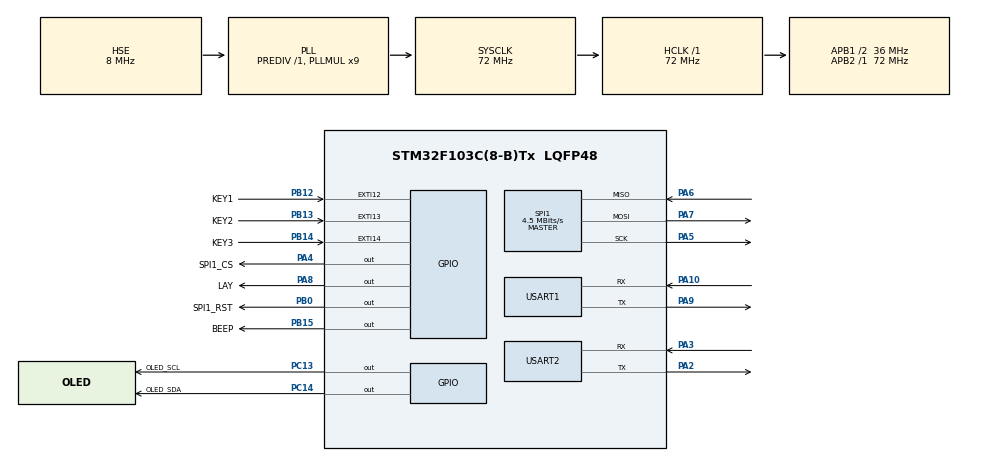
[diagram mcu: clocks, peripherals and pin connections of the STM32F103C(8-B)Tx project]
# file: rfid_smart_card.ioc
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Mcu.Family=STM32F1
Mcu.Name=STM32F103C(8-B)Tx
Mcu.Package=LQFP48
NVIC.EXTI15_10_IRQn=true\:0\:0\:false\:false\:true\:true\:true\:true
NVIC.PriorityGroup=NVIC_PRIORITYGROUP_4
NVIC.SPI1_IRQn=true\:1\:0\:true\:false\:true\:true\:true\:true
NVIC.USART2_IRQn=true\:2\:0\:true\:false\:true\:true\:true\:true
PA10.Mode=Asynchronous
PA10.Signal=USART1_RX
PA13.Mode=Serial_Wire
PA13.Signal=SYS_JTMS-SWDIO
PA14.Mode=Serial_Wire
PA14.Signal=SYS_JTCK-SWCLK
PA2.Mode=Asynchronous
PA2.Signal=USART2_TX
PA3.Mode=Asynchronous
PA3.Signal=USART2_RX
PA4.GPIO_Label=SPI1_CS
PA4.GPIO_ModeDefaultOutputPP=GPIO_MODE_OUTPUT_PP
PA4.GPIO_PuPd=GPIO_PULLUP
PA4.GPIO_Speed=GPIO_SPEED_FREQ_HIGH
PA4.PinState=GPIO_PIN_SET
PA4.Signal=GPIO_Output
PA5.Mode=Full_Duplex_Master
PA5.Signal=SPI1_SCK
PA6.Mode=Full_Duplex_Master
PA6.Signal=SPI1_MISO
PA7.Mode=Full_Duplex_Master
PA7.Signal=SPI1_MOSI
PA8.GPIO_Label=LAY
PA8.GPIO_PuPd=GPIO_PULLDOWN
PA8.GPIO_Speed=GPIO_SPEED_FREQ_HIGH
PA8.PinState=GPIO_PIN_SET
PA8.Signal=GPIO_Output
PA9.Mode=Asynchronous
PA9.Signal=USART1_TX
PB0.GPIO_Label=SPI1_RST
PB0.GPIO_ModeDefaultOutputPP=GPIO_MODE_OUTPUT_PP
PB0.GPIO_PuPd=GPIO_PULLUP
PB0.GPIO_Speed=GPIO_SPEED_FREQ_HIGH
PB0.PinState=GPIO_PIN_SET
PB0.Signal=GPIO_Output
PB12.GPIO_Label=KEY1
PB12.GPIO_ModeDefaultEXTI=GPIO_MODE_IT_FALLING
PB12.GPIO_PuPd=GPIO_PULLUP
PB12.Signal=GPXTI12
PB13.GPIO_Label=KEY2
PB13.GPIO_ModeDefaultEXTI=GPIO_MODE_IT_FALLING
PB13.GPIO_PuPd=GPIO_PULLUP
PB13.Signal=GPXTI13
PB14.GPIO_Label=KEY3
PB14.GPIO_ModeDefaultEXTI=GPIO_MODE_IT_FALLING
PB14.GPIO_PuPd=GPIO_PULLUP
PB14.Signal=GPXTI14
PB15.GPIO_Label=BEEP
PB15.GPIO_ModeDefaultOutputPP=GPIO_MODE_OUTPUT_PP
PB15.GPIO_PuPd=GPIO_PULLUP
PB15.GPIO_Speed=GPIO_SPEED_FREQ_HIGH
PB15.PinState=GPIO_PIN_SET
PB15.Signal=GPIO_Output
PC13-TAMPER-RTC.GPIO_Label=OLED_SCL
PC13-TAMPER-RTC.GPIO_PuPd=GPIO_PULLUP
PC13-TAMPER-RTC.GPIO_Speed=GPIO_SPEED_FREQ_HIGH
PC13-TAMPER-RTC.PinState=GPIO_PIN_SET
PC13-TAMPER-RTC.Signal=GPIO_Output
PC14-OSC32_IN.GPIO_Label=OLED_SDA
PC14-OSC32_IN.GPIO_PuPd=GPIO_PULLUP
PC14-OSC32_IN.GPIO_Speed=GPIO_SPEED_FREQ_HIGH
PC14-OSC32_IN.PinState=GPIO_PIN_SET
PC14-OSC32_IN.Signal=GPIO_Output
PD0-OSC_IN.Mode=HSE-External-Oscillator
PD0-OSC_IN.Signal=RCC_OSC_IN
PD1-OSC_OUT.Mode=HSE-External-Oscillator
PD1-OSC_OUT.Signal=RCC_OSC_OUT
ProjectManager.HeapSize=0x200
ProjectManager.StackSize=0x400
ProjectManager.TargetToolchain=MDK-ARM V5.32
RCC.AHBFreq_Value=72000000
RCC.APB1CLKDivider=RCC_HCLK_DIV2
RCC.APB1Freq_Value=36000000
RCC.APB1TimFreq_Value=72000000
RCC.APB2Freq_Value=72000000
RCC.APB2TimFreq_Value=72000000
RCC.HCLKFreq_Value=72000000
RCC.PLLMUL=RCC_PLL_MUL9
RCC.PLLSourceVirtual=RCC_PLLSOURCE_HSE
RCC.SYSCLKFreq_VALUE=72000000
RCC.SYSCLKSource=RCC_SYSCLKSOURCE_PLLCLK
RCC.USBFreq_Value=72000000
SPI1.BaudRatePrescaler=SPI_BAUDRATEPRESCALER_16
SPI1.CalculateBaudRate=4.5 MBits/s
SPI1.Direction=SPI_DIRECTION_2LINES
SPI1.Mode=SPI_MODE_MASTER
SPI1.VirtualType=VM_MASTER
USART1.VirtualMode=VM_ASYNC
USART2.VirtualMode=VM_ASYNC
board=custom

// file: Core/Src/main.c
/* USER CODE BEGIN Header */
/**
  ******************************************************************************
  * @file           : main.c
  * @brief          : Main program body
  ******************************************************************************
  * @attention
  *
  * Copyright (c) 2026 STMicroelectronics.
  * All rights reserved.
  *
  * This software is licensed under terms that can be found in the LICENSE file
  * in the root directory of this software component.
  * If no LICENSE file comes with this software, it is provided AS-IS.
  *
  ******************************************************************************
  */
/* USER CODE END Header */
#include "main.h"
#include "spi.h"
#include "usart.h"
#include "gpio.h"

/* USER CODE BEGIN Includes */
#include "RC522.h"
#include "oled.h"
#include "string.h"
#include "stdlib.h"
/* USER CODE END Includes */

/* USER CODE BEGIN PD */

/* 系统状态定义 */
#define STATE_WELCOME    0
#define STATE_HOME       1
#define STATE_SETTING    2
#define STATE_PIN_SET    3
#define STATE_ADD_CARD   4
#define STATE_DELETE_CARD 5

/* 卡片相关定义 */
#define MAX_CARDS        10
#define CARD_ID_LENGTH   4

/* PIN码相关定义 */
#define PIN_LENGTH       4
#define FLASH_PIN_ADDR   0x0800F000  // FLASH存储PIN码的地址
#define FLASH_CARDS_ADDR 0x0800F100  // FLASH存储卡片的地址

/* 错误计数定义 */
#define MAX_ERROR_COUNT  3

/* USER CODE END PD */

/* USER CODE BEGIN PV */

/* 系统状态变量 */
uint8_t system_state = STATE_WELCOME;

/* 卡片相关变量 */
uint8_t card_id[CARD_ID_LENGTH];
uint8_t saved_cards[MAX_CARDS][CARD_ID_LENGTH];
uint8_t card_count = 0;

/* PIN码相关变量 */
uint8_t pin_code[PIN_LENGTH] = {0, 0, 0, 0};
uint8_t pin_input[PIN_LENGTH] = {0, 0, 0, 0};
uint8_t pin_pos = 0;

/* 设置界面相关变量 */
uint8_t setting_option = 0;

/* 错误计数 */
uint8_t error_count = 0;

/* UART接收相关变量 */
uint8_t uart_rx_buffer[4];
uint8_t uart_rx_count = 0;

/* USER CODE END PV */

void SystemClock_Config(void);
/* USER CODE BEGIN PFP */

/* 状态处理函数 */
void welcome_state(void);
void home_state(void);
void setting_state(void);
void pin_set_state(void);
void add_card_state(void);
void delete_card_state(void);

/* FLASH操作函数 */
void flash_write(uint32_t addr, uint8_t *data, uint16_t size);
void flash_read(uint32_t addr, uint8_t *data, uint16_t size);

/* 卡片操作函数 */
uint8_t check_card_id(uint8_t *id);
void save_card_id(uint8_t *id);
void delete_card_id(uint8_t *id);

/* 继电器和蜂鸣器控制函数 */
void relay_on(void);
void relay_off(void);
void beep_on(void);
void beep_off(void);

/* 按键处理函数 */
void key1_handler(void);
void key2_handler(void);
void key3_handler(void);

/* UART处理函数 */
void uart2_data_handler(void);

/* USER CODE END PFP */

/* USER CODE BEGIN 0 */

/* FLASH操作函数 */
void flash_write(uint32_t addr, uint8_t *data, uint16_t size)
{
    HAL_FLASH_Unlock();
    FLASH_EraseInitTypeDef eraseInit;
    uint32_t pageError = 0;
    eraseInit.TypeErase = FLASH_TYPEERASE_PAGES;
    eraseInit.PageAddress = addr;
    eraseInit.NbPages = 1;
    HAL_FLASHEx_Erase(&eraseInit, &pageError);

    for (uint16_t i = 0; i < size; i += 2)
    {
        uint16_t halfword_data;
        if (i + 1 < size)
        {
            halfword_data = (data[i + 1] << 8) | data[i];
        }
        else
        {
            halfword_data = data[i];
        }
        HAL_FLASH_Program(FLASH_TYPEPROGRAM_HALFWORD, addr + i, halfword_data);
    }

    HAL_FLASH_Lock();
}

void flash_read(uint32_t addr, uint8_t *data, uint16_t size)
{
    for (uint16_t i = 0; i < size; i++)
    {
        data[i] = *(__IO uint8_t *)(addr + i);
    }
}

/* 卡片操作函数 */
uint8_t check_card_id(uint8_t *id)
{
    for (uint8_t i = 0; i < card_count; i++)
    {
        if (memcmp(saved_cards[i], id, CARD_ID_LENGTH) == 0)
        {
            return 1;
        }
    }
    return 0;
}

void save_card_id(uint8_t *id)
{
    if (card_count < MAX_CARDS)
    {
        memcpy(saved_cards[card_count], id, CARD_ID_LENGTH);
        card_count++;
        flash_write(FLASH_CARDS_ADDR, (uint8_t *)&card_count, 1);
        flash_write(FLASH_CARDS_ADDR + 1, (uint8_t *)saved_cards, card_count * CARD_ID_LENGTH);
    }
}

void delete_card_id(uint8_t *id)
{
    uint8_t found = 0;
    for (uint8_t i = 0; i < card_count; i++)
    {
        if (found)
        {
            memcpy(saved_cards[i - 1], saved_cards[i], CARD_ID_LENGTH);
        }
        else if (memcmp(saved_cards[i], id, CARD_ID_LENGTH) == 0)
        {
            found = 1;
        }
    }
    if (found && card_count > 0)
    {
        card_count--;
        flash_write(FLASH_CARDS_ADDR, (uint8_t *)&card_count, 1);
        flash_write(FLASH_CARDS_ADDR + 1, (uint8_t *)saved_cards, card_count * CARD_ID_LENGTH);
    }
}

/* 继电器和蜂鸣器控制函数 */
void relay_on(void)
{
    HAL_GPIO_WritePin(LAY_GPIO_Port, LAY_Pin, GPIO_PIN_RESET);
}

void relay_off(void)
{
    HAL_GPIO_WritePin(LAY_GPIO_Port, LAY_Pin, GPIO_PIN_SET);
}

void beep_on(void)
{
    HAL_GPIO_WritePin(BEEP_GPIO_Port, BEEP_Pin, GPIO_PIN_RESET);
}

void beep_off(void)
{
    HAL_GPIO_WritePin(BEEP_GPIO_Port, BEEP_Pin, GPIO_PIN_SET);
}

/* 按键处理函数 */
void key1_handler(void)
{
    switch (system_state)
    {
        case STATE_HOME:
            system_state = STATE_SETTING;
            setting_option = 0;
            break;
        case STATE_SETTING:
            system_state = STATE_HOME;
            break;
        case STATE_PIN_SET:
            if (pin_pos == 3)
            {
                memcpy(pin_code, pin_input, PIN_LENGTH);
                flash_write(FLASH_PIN_ADDR, pin_code, PIN_LENGTH);
                system_state = STATE_SETTING;
            }
            break;
        case STATE_ADD_CARD:
        case STATE_DELETE_CARD:
            system_state = STATE_SETTING;
            break;
    }
}

void key2_handler(void)
{
    switch (system_state)
    {
        case STATE_SETTING:
            setting_option = (setting_option + 1) % 3;
            break;
        case STATE_PIN_SET:
            pin_input[pin_pos] = (pin_input[pin_pos] + 1) % 10;
            break;
    }
}

void key3_handler(void)
{
    switch (system_state)
    {
        case STATE_SETTING:
            if (setting_option == 0)
            {
                system_state = STATE_PIN_SET;
                pin_pos = 0;
                pin_input[0] = rand() % 10;
                for (uint8_t i = 1; i < PIN_LENGTH; i++)
                {
                    pin_input[i] = 0;
                }
            }
            else if (setting_option == 1)
            {
                system_state = STATE_ADD_CARD;
            }
            else if (setting_option == 2)
            {
                system_state = STATE_DELETE_CARD;
            }
            break;
        case STATE_PIN_SET:
            pin_pos = (pin_pos + 1) % PIN_LENGTH;
            break;
    }
}

/* UART处理函数 */
void uart2_data_handler(void)
{
    if (uart_rx_count == 4)
    {
        if (memcmp(uart_rx_buffer, pin_code, 4) == 0)
        {
            relay_on();
            HAL_Delay(2000);
            relay_off();
            error_count = 0;
        }
        else
        {
            error_count++;
            if (error_count >= MAX_ERROR_COUNT)
            {
                beep_on();
                HAL_Delay(3000);
                beep_off();
                error_count = 0;
            }
        }
        uart_rx_count = 0;
    }
}

/* USER CODE END 0 */

/* 状态处理函数 */
void welcome_state(void)
{
    OLED_ShowString(0, 2, "Welcome Bcak home", 16, 0);
    OLED_Refresh();
    HAL_Delay(2000);
    system_state = STATE_HOME;
}

void home_state(void)
{
    OLED_Clear();
    OLED_ShowString(0, 2, "Waiting to open", 16, 0);
    OLED_Refresh();

    uint8_t card_type;
    if (PCD_Request(PICC_REQIDL, &card_type) == MFRC_OK)
    {
        if (PCD_Anticoll(card_id) == MFRC_OK)
        {
            if (check_card_id(card_id))
            {
                relay_on();
                HAL_Delay(2000);
                relay_off();
                error_count = 0;
            }
            else
            {
                error_count++;
                if (error_count >= MAX_ERROR_COUNT)
                {
                    beep_on();
                    HAL_Delay(3000);
                    beep_off();
                    error_count = 0;
                }
            }
        }
    }
    HAL_Delay(500);
}

void setting_state(void)
{
    OLED_Clear();
    OLED_ShowString(0, 0, "Setting", 16, 0);

    if (setting_option == 0)
    {
        OLED_ShowString(0, 2, "-> 1.pin set", 16, 0);
        OLED_ShowString(0, 4, "  2.add card", 16, 0);
        OLED_ShowString(0, 6, "  3.delete card", 16, 0);
    }
    else if (setting_option == 1)
    {
        OLED_ShowString(0, 2, "  1.pin set", 16, 0);
        OLED_ShowString(0, 4, "-> 2.add card", 16, 0);
        OLED_ShowString(0, 6, "  3.delete card", 16, 0);
    }
    else if (setting_option == 2)
    {
        OLED_ShowString(0, 2, "  1.pin set", 16, 0);
        OLED_ShowString(0, 4, "  2.add card", 16, 0);
        OLED_ShowString(0, 6, "-> 3.delete card", 16, 0);
    }

    OLED_Refresh();
    HAL_Delay(200);
}

void pin_set_state(void)
{
    OLED_Clear();
    OLED_ShowString(0, 0, "PIN SET", 16, 0);

    char pin_str[10] = "PIN: ";
    for (uint8_t i = 0; i < PIN_LENGTH; i++)
    {
        if (i == pin_pos)
        {
            pin_str[5 + i] = pin_input[i] + '0';
        }
        else
        {
            pin_str[5 + i] = '_';
        }
    }
    pin_str[9] = '\0';
    OLED_ShowString(0, 3, (uint8_t *)pin_str, 16, 0);

    OLED_Refresh();
    HAL_Delay(200);
}

void add_card_state(void)
{
    OLED_Clear();
    OLED_ShowString(0, 2, "card close", 16, 0);
    OLED_Refresh();

    uint8_t card_type;
    if (PCD_Request(PICC_REQIDL, &card_type) == MFRC_OK)
    {
        if (PCD_Anticoll(card_id) == MFRC_OK)
        {
            save_card_id(card_id);
            OLED_Clear();
            OLED_ShowString(0, 2, "Card added", 16, 0);
            OLED_Refresh();
            HAL_Delay(1000);
            system_state = STATE_SETTING;
        }
    }
    HAL_Delay(500);
}

void delete_card_state(void)
{
    OLED_Clear();
    OLED_ShowString(0, 2, "card close", 16, 0);
    OLED_Refresh();

    uint8_t card_type;
    if (PCD_Request(PICC_REQIDL, &card_type) == MFRC_OK)
    {
        if (PCD_Anticoll(card_id) == MFRC_OK)
        {
            delete_card_id(card_id);
            OLED_Clear();
            OLED_ShowString(0, 2, "Card deleted", 16, 0);
            OLED_Refresh();
            HAL_Delay(1000);
            system_state = STATE_SETTING;
        }
    }
    HAL_Delay(500);
}

int main(void)
{

  /* MCU Configuration--------------------------------------------------------*/

  /* Reset of all peripherals, Initializes the Flash interface and the Systick. */
  HAL_Init();

  /* Configure the system clock */
  SystemClock_Config();

  /* Initialize all configured peripherals */
  MX_GPIO_Init();
  MX_SPI1_Init();
  MX_USART1_UART_Init();
  MX_USART2_UART_Init();
  /* USER CODE BEGIN 2 */

  /* 初始化OLED */
  OLED_Init();
  OLED_Clear();

  /* 初始化RC522 */
  PCD_Init();

  /* 从FLASH读取数据 */
  flash_read(FLASH_PIN_ADDR, pin_code, PIN_LENGTH);
  flash_read(FLASH_CARDS_ADDR, &card_count, 1);
  if (card_count > 0 && card_count <= MAX_CARDS)
  {
      flash_read(FLASH_CARDS_ADDR + 1, (uint8_t *)saved_cards, card_count * CARD_ID_LENGTH);
  }
  else
  {
      card_count = 0;
  }

  /* 启动USART2中断接收 */
  HAL_UART_Receive_IT(&huart2, &uart_rx_buffer[0], 1);

  /* USER CODE END 2 */

  /* Infinite loop */
  while (1)
  {

    /* USER CODE BEGIN 3 */
    switch (system_state)
    {
        case STATE_WELCOME:
            welcome_state();
            break;
        case STATE_HOME:
            home_state();
            break;
        case STATE_SETTING:
            setting_state();
            break;
        case STATE_PIN_SET:
            pin_set_state();
            break;
        case STATE_ADD_CARD:
            add_card_state();
            break;
        case STATE_DELETE_CARD:
            delete_card_state();
            break;
    }
  }
  /* USER CODE END 3 */
}

void SystemClock_Config(void)
{
  RCC_OscInitTypeDef RCC_OscInitStruct = {0};
  RCC_ClkInitTypeDef RCC_ClkInitStruct = {0};

  /** Initializes the RCC Oscillators according to the specified parameters
  * in the RCC_OscInitTypeDef structure.
  */
  RCC_OscInitStruct.OscillatorType = RCC_OSCILLATORTYPE_HSE;
  RCC_OscInitStruct.HSEState = RCC_HSE_ON;
  RCC_OscInitStruct.HSEPredivValue = RCC_HSE_PREDIV_DIV1;
  RCC_OscInitStruct.HSIState = RCC_HSI_ON;
  RCC_OscInitStruct.PLL.PLLState = RCC_PLL_ON;
  RCC_OscInitStruct.PLL.PLLSource = RCC_PLLSOURCE_HSE;
  RCC_OscInitStruct.PLL.PLLMUL = RCC_PLL_MUL9;
  if (HAL_RCC_OscConfig(&RCC_OscInitStruct) != HAL_OK)
  {
    Error_Handler();
  }

  /** Initializes the CPU, AHB and APB buses clocks
  */
  RCC_ClkInitStruct.ClockType = RCC_CLOCKTYPE_HCLK|RCC_CLOCKTYPE_SYSCLK
                              |RCC_CLOCKTYPE_PCLK1|RCC_CLOCKTYPE_PCLK2;
  RCC_ClkInitStruct.SYSCLKSource = RCC_SYSCLKSOURCE_PLLCLK;
  RCC_ClkInitStruct.AHBCLKDivider = RCC_SYSCLK_DIV1;
  RCC_ClkInitStruct.APB1CLKDivider = RCC_HCLK_DIV2;
  RCC_ClkInitStruct.APB2CLKDivider = RCC_HCLK_DIV1;

  if (HAL_RCC_ClockConfig(&RCC_ClkInitStruct, FLASH_LATENCY_2) != HAL_OK)
  {
    Error_Handler();
  }
}

void Error_Handler(void)
{
  __disable_irq();
  while (1)
  {
  }
}
